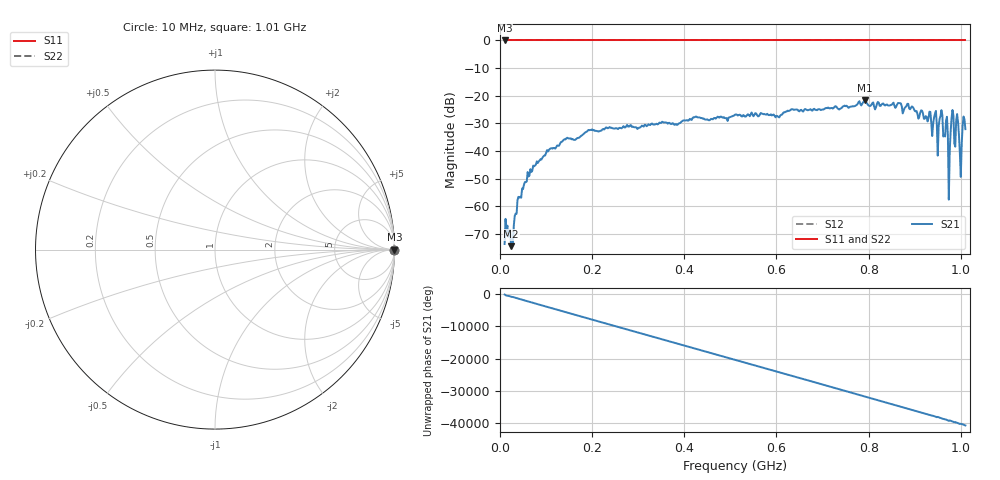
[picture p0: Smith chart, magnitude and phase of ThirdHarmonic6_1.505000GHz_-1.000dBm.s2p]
! 8/16/2025 5:42:09 PM
! C:\ANRITSUVNA\TEMP\TEMP.S2P
! CHANNEL.1
! TR.MEASUREMENT
! RAW.DATA
! RF.CORRECTION.OFF
! AVERAGING.OFF
! IF.BANDWIDTH: 5KHZ
! SWEEPTYPE:  FREQ.SWEEP(Linear)
! Reference Plane Port Info
! PORT:  PORT1  PORT2
! DISTANCE:  0  m  0  m
! TIME:  0  s  0  s
! PHASE.OFFSET:  0  deg.  0  deg.
! LOSS:  0  dB  0  dB
! REF.LOSS:  0  dB  0  dB
! REF.FREQ:  0  Hz  0  Hz
! Power Info
! POWER:  -20  dBm  -20  dBm
! EFF.POWER:  -20  dBm  -20  dBm
! SOURCE.ATTEN:  0  dB  0  dB
! TEST.ATTEN:  0  dB  0  dB
# GHZ S RI R 50.0
! FREQ.GHZ  S11RE  S11IM  S21RE  S21IM  S12RE  S12IM  S22RE  S22IM
!; PortSelection: Port_12
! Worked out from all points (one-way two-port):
!   501 points, 10 MHz to 1.01 GHz, reference 50 ohm
!   highest |S21| = -21.71 dB at 792 MHz (marker M1); lowest = -74.5 dB at 24 MHz (marker M2)
!   lowest |S11| = 0.0 dB at 10 MHz (marker M3)
!   |S11| at or under -10 dB: nowhere
!   |S22| runs from 0.0 to 0.0 dB; largest |S21 - S12| = 1.1
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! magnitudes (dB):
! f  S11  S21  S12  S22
! 10 MHz  0.0  -73.7  0.0  0.0
! 16 MHz  0.0  -67.1  0.0  0.0
! 24 MHz  0.0  -74.5  0.0  0.0
! 42 MHz  0.0  -56.9  0.0  0.0
! 76 MHz  0.0  -45.3  0.0  0.0
! 142 MHz  0.0  -35.8  0.0  0.0
! 178 MHz  0.0  -34.4  0.0  0.0
! 344 MHz  0.0  -30.2  0.0  0.0
! 510 MHz  0.0  -26.9  0.0  0.0
! 678 MHz  0.0  -25.4  0.0  0.0
! 792 MHz  0.0  -21.7  0.0  0.0
! 844 MHz  0.0  -23.6  0.0  0.0
! 944 MHz  0.0  -26.5  0.0  0.0
! 952 MHz  0.0  -31.2  0.0  0.0
! 956 MHz  0.0  -27.4  0.0  0.0
! 968 MHz  0.0  -29.0  0.0  0.0
! 976 MHz  0.0  -40.1  0.0  0.0
! 982 MHz  0.0  -25.2  0.0  0.0
! 994 MHz  0.0  -29.4  0.0  0.0
! 1 GHz  0.0  -49.4  0.0  0.0
! 1.006 GHz  0.0  -27.5  0.0  0.0
! 1.01 GHz  0.0  -32.1  0.0  0.0
